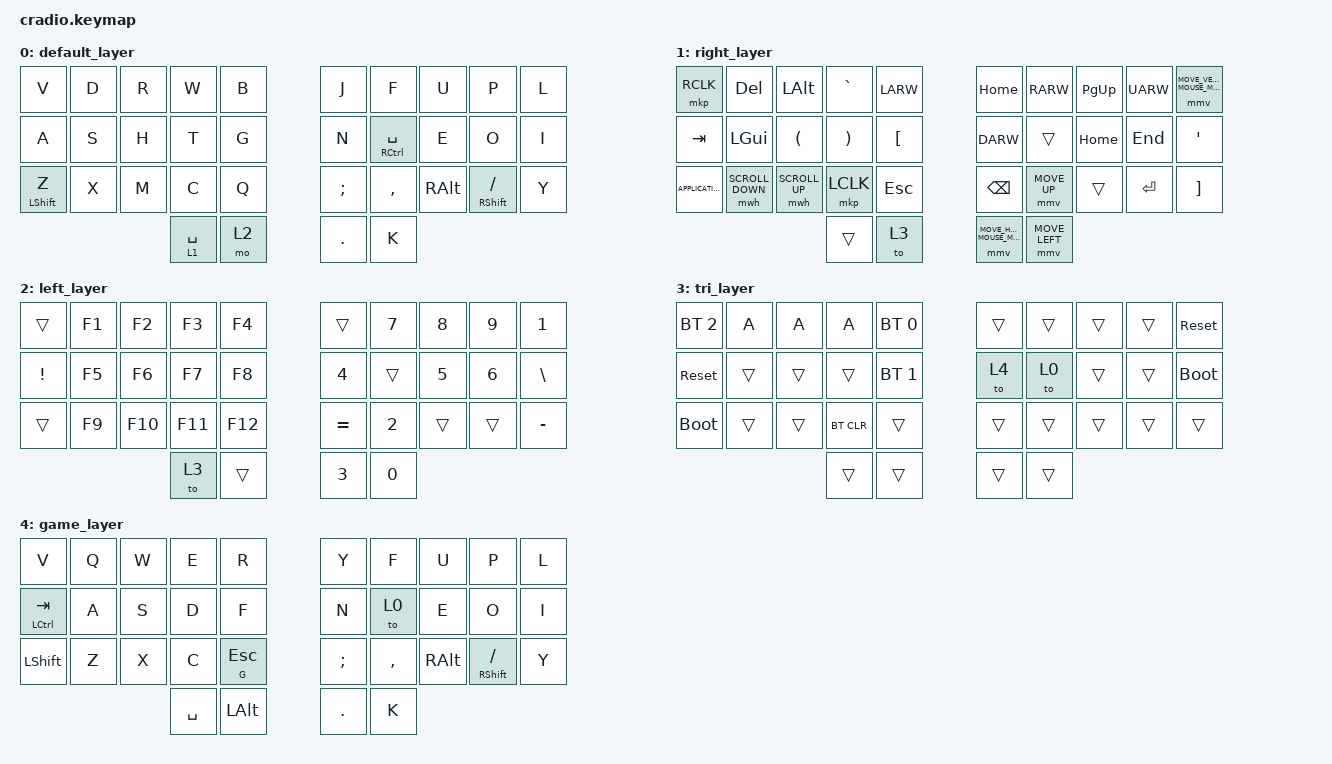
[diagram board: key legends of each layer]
// Copyright (c) 2022 The ZMK Contributors
// SPDX-License-Identifier: MIT

#include <behaviors.dtsi>
#include <dt-bindings/zmk/keys.h>
#include <dt-bindings/zmk/bt.h>
#include <dt-bindings/zmk/mouse.h>

// Home row mods macro
#define HRML(k1,k2,k3,k4) &ht LSHFT k1  &ht LALT k2  &ht LCTRL k3  &ht LGUI k4
#define HRMR(k1,k2,k3,k4) &ht RGUI k1  &ht RCTRL k2  &ht RALT k3  &ht RSHFT k4

#define U_MOUSE_MOVE_MAX 1400                     /* <--- New max speed setting (default: 600) */
#undef MOVE_UP
#undef MOVE_DOWN
#undef MOVE_LEFT
#undef MOVE_RIGHT
#define MOVE_UP MOVE_VERT(-U_MOUSE_MOVE_MAX)
#define MOVE_DOWN MOVE_VERT(U_MOUSE_MOVE_MAX)
#define MOVE_LEFT MOVE_HOR(-U_MOUSE_MOVE_MAX)
#define MOVE_RIGHT MOVE_HOR(U_MOUSE_MOVE_MAX)

/ {
    behaviors {
        ht: hold_tap {
            label = "hold_tap";
            compatible = "zmk,behavior-hold-tap";
            #binding-cells = <2>;
            flavor = "tap-preferred";
            tapping-term-ms = <150>;
            quick-tap-ms = <149>;
            global-quick-tap;
            bindings = <&kp>, <&kp>;
        };
    };


    keymap {
        compatible = "zmk,keymap";
        default_layer {
            bindings = <
        //╭──────────┬──────────┬──────────┬──────────┬───────┼────────┤──┤─╮   ╭──────────┬──────────┬──────────┬──────────┬──────────╮
            &kp V       &kp D           &kp R            &kp W      &kp B         &kp J      &kp F        &kp U     &kp P          &kp L
        //├──────────┼──────────┼──────────┼──────────┼──────────┤┼────────┤   ├──────────┼──────────┼──────────┼──────────┼──────────┤
            &kp A       &kp S           &kp H            &kp T      &kp G         &kp N &ht  RCTRL SPACE  &kp E     &kp O          &kp I
        //├──────────┼──────────┼──────────┼──────────┼──────────┤┼────────┤   ├──────────┼──────────┼──────────┼──────────┼──────────┤
            &ht LSHFT Z &kp X           &kp M            &kp C      &kp Q         &kp SEMI   &kp COMMA    &kp RALT  &ht RSHFT FSLH &kp Y
        //╰──────────┴──────────┴──────────┼──────────┼───────────┼────────┤   ├──────────┼──────────┼──────────┴──────────┴──────────╯
                                                       &lt 1 SPACE   &mo 2       &kp DOT    &kp K
        //                                            ╰──────────┴──────────╯   ╰──────────┴──────────╯
            >;
        };

        right_layer {
            bindings = <
        //╭──────────┬──────────┬──────────┬──────────┬────────────┬────────╮   ╭──────────┬──────────┬──────────┬──────────┬──────────╮
            &mkp RCLK  &kp DEL          &kp LALT         &kp GRAVE  &kp LARW      &kp HOME   &kp RARW     &kp PG_UP &kp UARW  &mmv MOVE_DOWN
        //├──────────┼──────────┼──────────┼──────────┼─────────┬─────┬─────┤   ├──────────┼──────────┼──────────┼──────────┼──────────┤
            &kp TAB    &kp LGUI         &kp LPAR         &kp RPAR   &kp LBKT      &kp DARW   &trans       &kp HOME  &kp END   &kp SQT
        //├──────────┼──────────┼──────────┼──────────┼─────┬────┬──────────┤   ├──────────┼──────────┼──────────┼──────────┼──────────┤
            &kp K_APPLICATION   &mwh SCROLL_DOWN &mwh SCROLL_UP   &mkp LCLK  &kp ESCAPE    &kp BSPC   &mmv MOVE_UP &trans    &kp ENTER &kp RBKT
        //╰──────────┴──────────┴──────────┼──────────┼──┬────┬─────────────┤   ├──────────┼──────────┼──────────┴──────────┴──────────╯
                                                         &trans     &to 3         &mmv MOVE_RIGHT &mmv MOVE_LEFT
        //                                             ╰──────────┴──────────╯   ╰──────────┴──────────╯
            >;
        };


        left_layer {
            bindings = <
         //╭──────────┬──────────┬──────────┬──────────┬────────────────────┤╮   ╭──────────┬──────────┬──────────┬──────────┬──────────╮
            &trans       &kp F1         &kp F2     &kp F3   &kp F4                &trans     &kp N7  &kp N8   &kp N9   &kp N1
        //├──────────┼──────────┼──────────┼──────────┼──────────┤──────────┤   ├──────────┼──────────┼──────────┼──────────┼──────────┤
            &kp EXCL     &kp F5         &kp F6     &kp F7   &kp F8                &kp N4     &trans  &kp N5   &kp N6   &kp BSLH
        //├──────────┼──────────┼──────────┼──────────┼──────────┤──────────┤   ├──────────┼──────────┼──────────┼──────────┼──────────┤
            &trans       &kp F9         &kp F10    &kp F11  &kp F12               &kp EQUAL  &kp N2  &trans   &trans   &kp MINUS
        //╰──────────┴──────────┴──────────┼──────────┼──────────┤──────────┤   ├──────────┼──────────┼──────────┴──────────┴──────────╯
                                                         &to 3     &trans         &kp N3     &kp N0
        //                                             ╰──────────┴──────────╯   ╰──────────┴──────────╯
            >;
        };

        tri_layer {
            bindings = <
        //╭──────────┬──────────┬──────────┬──────────┬────────────────────┤╮   ╭──────────┬──────────┬──────────┬──────────┬──────────╮
           &bt BT_SEL 2  &kp A          &kp A     &kp A      &bt BT_SEL 0         &trans     &trans     &trans     &trans    &sys_reset
        //├──────────┼──────────┼──────────┼──────────┼──────────┤──────────┤   ├──────────┼──────────┼──────────┼──────────┼──────────┤
           &sys_reset    &trans         &trans    &trans     &bt BT_SEL 1         &to 4     &to 0      &trans     &trans    &bootloader
        //├──────────┼──────────┼──────────┼──────────┼──────────┤──────────┤   ├──────────┼──────────┼──────────┼──────────┼──────────┤
           &bootloader   &trans         &trans    &bt BT_CLR &trans               &trans     &trans     &trans     &trans    &trans
        //╰──────────┴──────────┴──────────┼──────────┼──────────┤──────────┤   ├──────────┼──────────┼──────────┴──────────┴──────────╯
                                                         &trans     &trans         &trans     &trans
        //                                             ╰──────────┴──────────╯   ╰──────────┴──────────╯
            >;
        };
        game_layer {
            bindings = <
        //╭──────────┬──────────┬──────────┬──────────┬───────┼────────┤──┤─╮   ╭──────────┬──────────┬──────────┬──────────┬──────────╮
            &kp V       &kp Q           &kp W            &kp E      &kp R         &kp Y      &kp F        &kp U     &kp P          &kp L
        //├──────────┼──────────┼──────────┼──────────┼──────────┤┼────────┤   ├──────────┼──────────┼──────────┼──────────┼──────────┤
            &ht LCTRL TAB  &kp A           &kp S            &kp D      &kp F         &kp N      &to 0        &kp E     &kp O          &kp I
        //├──────────┼──────────┼──────────┼──────────┼──────────┤┼────────┤   ├──────────┼──────────┼──────────┼──────────┼──────────┤
            &kp LSHIFT  &kp Z           &kp X            &kp C      &ht G ESCAPE    &kp SEMI   &kp COMMA    &kp RALT  &ht RSHFT FSLH &kp Y
        //╰──────────┴──────────┴──────────┼──────────┼───────────┼────────┤   ├──────────┼──────────┼──────────┴──────────┴──────────╯
                                                       &kp SPACE    &kp LALT      &kp DOT    &kp K
        //                                            ╰──────────┴──────────╯   ╰──────────┴──────────╯
            >;
        };
    };
};
